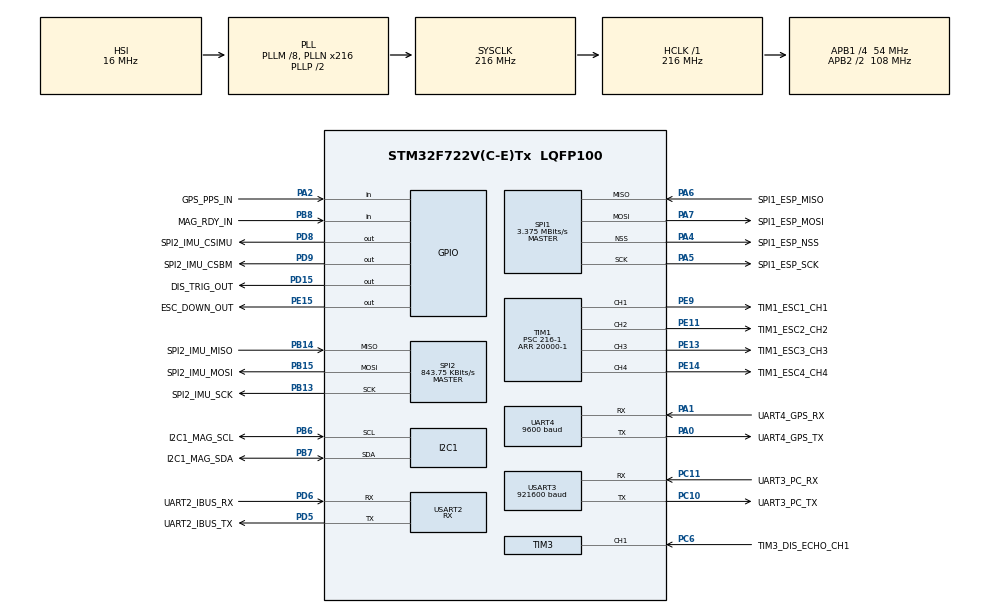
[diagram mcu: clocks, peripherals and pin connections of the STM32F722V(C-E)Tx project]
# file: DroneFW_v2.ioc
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Dma.Request0=USART2_RX
Dma.USART2_RX.0.Direction=DMA_PERIPH_TO_MEMORY
Dma.USART2_RX.0.FIFOMode=DMA_FIFOMODE_DISABLE
Dma.USART2_RX.0.Instance=DMA1_Stream5
Dma.USART2_RX.0.MemDataAlignment=DMA_MDATAALIGN_BYTE
Dma.USART2_RX.0.MemInc=DMA_MINC_ENABLE
Dma.USART2_RX.0.Mode=DMA_NORMAL
Dma.USART2_RX.0.PeriphDataAlignment=DMA_PDATAALIGN_BYTE
Dma.USART2_RX.0.PeriphInc=DMA_PINC_DISABLE
Dma.USART2_RX.0.Priority=DMA_PRIORITY_VERY_HIGH
FREERTOS.BinarySemaphores01=DistSemaphore,Dynamic,NULL;GpsBufferSemaphore,Dynamic,NULL;RemoteBufferFullSemaphore,Dynamic,NULL
FREERTOS.INCLUDE_vTaskDelayUntil=1
FREERTOS.Mutexes01=MagnMutex,Dynamic,NULL;RemoteDataMutex,Dynamic,NULL;ImuMutex,Dynamic,NULL;GpsDataMutex,Dynamic,NULL;DistMutex,Dynamic,NULL;RemoteBufferMutex,Dynamic,NULL;ControllerMutex,Dynamic,NULL
FREERTOS.Tasks01=TaskSensorData,2,512,RunTaskSensorData,Default,NULL,Dynamic,NULL,NULL;TaskController,1,512,RunTaskController,Default,NULL,Dynamic,NULL,NULL;TaskRemote,3,512,RunTaskRemote,Default,NULL,Dynamic,NULL,NULL;TaskMotor,0,256,RunTaskMotor,Default,NULL,Dynamic,NULL,NULL;TaskPower,-1,256,RunTaskPower,Default,NULL,Dynamic,NULL,NULL;TaskDiagnostics,-2,2048,RunTaskDiagnostics,Default,NULL,Dynamic,NULL,NULL;TaskTune,-1,512,RunTaskTune,Default,NULL,Dynamic,NULL,NULL
FREERTOS.configENABLE_FPU=1
FREERTOS.configTOTAL_HEAP_SIZE=32768
FREERTOS.configUSE_NEWLIB_REENTRANT=1
FREERTOS.configUSE_PREEMPTION=1
I2C1.Timing=0xA0404E72
Mcu.Family=STM32F7
Mcu.Name=STM32F722V(C-E)Tx
Mcu.Package=LQFP100
NVIC.DMA1_Stream5_IRQn=true\:8\:0\:true\:false\:true\:true\:false\:true\:true
NVIC.PriorityGroup=NVIC_PRIORITYGROUP_4
NVIC.TIM2_IRQn=true\:15\:0\:false\:false\:true\:false\:false\:true\:true
NVIC.TIM3_IRQn=true\:6\:0\:true\:false\:true\:true\:true\:true\:true
NVIC.TimeBase=TIM2_IRQn
NVIC.TimeBaseIP=TIM2
NVIC.UART4_IRQn=true\:6\:0\:true\:false\:true\:true\:true\:true\:true
NVIC.USART2_IRQn=true\:7\:0\:true\:false\:true\:true\:true\:true\:true
PA0-WKUP.GPIO_Label=UART4_GPS_TX
PA0-WKUP.Mode=Asynchronous
PA0-WKUP.Signal=UART4_TX
PA1.GPIO_Label=UART4_GPS_RX
PA1.Mode=Asynchronous
PA1.Signal=UART4_RX
PA13.GPIO_Label=SWDIO
PA13.Mode=Trace_Asynchronous_SW
PA13.Signal=SYS_JTMS-SWDIO
PA14.GPIO_Label=SWCLK
PA14.Mode=Trace_Asynchronous_SW
PA14.Signal=SYS_JTCK-SWCLK
PA2.GPIO_Label=GPS_PPS_IN
PA2.Signal=GPIO_Input
PA4.GPIO_Label=SPI1_ESP_NSS
PA4.Mode=NSS_Signal_Hard_Output
PA4.Signal=SPI1_NSS
PA5.GPIO_Label=SPI1_ESP_SCK
PA5.Mode=Full_Duplex_Master
PA5.Signal=SPI1_SCK
PA6.GPIO_Label=SPI1_ESP_MISO
PA6.Mode=Full_Duplex_Master
PA6.Signal=SPI1_MISO
PA7.GPIO_Label=SPI1_ESP_MOSI
PA7.Mode=Full_Duplex_Master
PA7.Signal=SPI1_MOSI
PB13.GPIO_Label=SPI2_IMU_SCK
PB13.Mode=Full_Duplex_Master
PB13.Signal=SPI2_SCK
PB14.GPIO_Label=SPI2_IMU_MISO
PB14.Mode=Full_Duplex_Master
PB14.Signal=SPI2_MISO
PB15.GPIO_Label=SPI2_IMU_MOSI
PB15.Mode=Full_Duplex_Master
PB15.Signal=SPI2_MOSI
PB3.Mode=Trace_Asynchronous_SW
PB3.Signal=SYS_JTDO-SWO
PB6.GPIO_Label=I2C1_MAG_SCL
PB6.Mode=I2C
PB6.Signal=I2C1_SCL
PB7.GPIO_Label=I2C1_MAG_SDA
PB7.Mode=I2C
PB7.Signal=I2C1_SDA
PB8.GPIO_Label=MAG_RDY_IN
PB8.Signal=GPIO_Input
PC10.GPIO_Label=UART3_PC_TX
PC10.Mode=Asynchronous
PC10.Signal=USART3_TX
PC11.GPIO_Label=UART3_PC_RX
PC11.Mode=Asynchronous
PC11.Signal=USART3_RX
PC6.GPIO_Label=TIM3_DIS_ECHO_CH1
PC6.Signal=S_TIM3_CH1
PD15.GPIO_Label=DIS_TRIG_OUT
PD15.Signal=GPIO_Output
PD5.GPIO_Label=UART2_IBUS_TX
PD5.Mode=Asynchronous
PD5.Signal=USART2_TX
PD6.GPIO_Label=UART2_IBUS_RX
PD6.Mode=Asynchronous
PD6.Signal=USART2_RX
PD8.GPIO_Label=SPI2_IMU_CSIMU
PD8.Signal=GPIO_Output
PD9.GPIO_Label=SPI2_IMU_CSBM
PD9.Signal=GPIO_Output
PE11.GPIO_Label=TIM1_ESC2_CH2
PE11.Signal=S_TIM1_CH2
PE13.GPIO_Label=TIM1_ESC3_CH3
PE13.Signal=S_TIM1_CH3
PE14.GPIO_Label=TIM1_ESC4_CH4
PE14.Signal=S_TIM1_CH4
PE15.GPIO_Label=ESC_DOWN_OUT
PE15.Signal=GPIO_Output
PE9.GPIO_Label=TIM1_ESC1_CH1
PE9.Signal=S_TIM1_CH1
ProjectManager.HeapSize=0x200
ProjectManager.StackSize=0x400
ProjectManager.TargetToolchain=STM32CubeIDE
RCC.AHBFreq_Value=216000000
RCC.APB1CLKDivider=RCC_HCLK_DIV4
RCC.APB1Freq_Value=54000000
RCC.APB1TimFreq_Value=108000000
RCC.APB2CLKDivider=RCC_HCLK_DIV2
RCC.APB2Freq_Value=108000000
RCC.APB2TimFreq_Value=216000000
RCC.CortexFreq_Value=216000000
RCC.HCLKFreq_Value=216000000
RCC.HSE_VALUE=25000000
RCC.HSI_VALUE=16000000
RCC.I2C1CLockSelection=RCC_I2C1CLKSOURCE_SYSCLK
RCC.LSE_VALUE=32768
RCC.PLLI2SN=216
RCC.PLLM=8
RCC.PLLN=216
RCC.PLLSAIN=216
RCC.SYSCLKFreq_VALUE=216000000
RCC.SYSCLKSource=RCC_SYSCLKSOURCE_PLLCLK
RCC.UART4CLockSelection=RCC_UART4CLKSOURCE_SYSCLK
RCC.USART2CLockSelection=RCC_USART2CLKSOURCE_SYSCLK
RCC.USART3CLockSelection=RCC_USART3CLKSOURCE_SYSCLK
RCC.USBFreq_Value=216000000
RCC.VCOOutputFreq_Value=432000000
SH.S_TIM1_CH1.0=TIM1_CH1,PWM Generation1 CH1
SH.S_TIM1_CH2.0=TIM1_CH2,PWM Generation2 CH2
SH.S_TIM1_CH3.0=TIM1_CH3,PWM Generation3 CH3
SH.S_TIM1_CH4.0=TIM1_CH4,PWM Generation4 CH4
SH.S_TIM3_CH1.0=TIM3_CH1,Input_Capture1_from_TI1
SPI1.BaudRatePrescaler=SPI_BAUDRATEPRESCALER_32
SPI1.CLKPhase=SPI_PHASE_2EDGE
SPI1.CLKPolarity=SPI_POLARITY_HIGH
SPI1.CRCCalculation=SPI_CRCCALCULATION_DISABLE
SPI1.CalculateBaudRate=3.375 MBits/s
SPI1.DataSize=SPI_DATASIZE_8BIT
SPI1.Direction=SPI_DIRECTION_2LINES
SPI1.FirstBit=SPI_FIRSTBIT_MSB
SPI1.Mode=SPI_MODE_MASTER
SPI1.TIMode=SPI_TIMODE_DISABLE
SPI1.VirtualNSS=VM_NSSHARD
SPI1.VirtualType=VM_MASTER
SPI2.BaudRatePrescaler=SPI_BAUDRATEPRESCALER_64
SPI2.CLKPhase=SPI_PHASE_2EDGE
SPI2.CLKPolarity=SPI_POLARITY_HIGH
SPI2.CalculateBaudRate=843.75 KBits/s
SPI2.DataSize=SPI_DATASIZE_8BIT
SPI2.Direction=SPI_DIRECTION_2LINES
SPI2.Mode=SPI_MODE_MASTER
SPI2.VirtualType=VM_MASTER
TIM1.AutoReloadPreload=TIM_AUTORELOAD_PRELOAD_ENABLE
TIM1.Channel-PWM\ Generation1\ CH1=TIM_CHANNEL_1
TIM1.Channel-PWM\ Generation2\ CH2=TIM_CHANNEL_2
TIM1.Channel-PWM\ Generation3\ CH3=TIM_CHANNEL_3
TIM1.Channel-PWM\ Generation4\ CH4=TIM_CHANNEL_4
TIM1.OCFastMode_PWM-PWM\ Generation1\ CH1=TIM_OCFAST_ENABLE
TIM1.OCFastMode_PWM-PWM\ Generation2\ CH2=TIM_OCFAST_ENABLE
TIM1.OCFastMode_PWM-PWM\ Generation3\ CH3=TIM_OCFAST_ENABLE
TIM1.OCFastMode_PWM-PWM\ Generation4\ CH4=TIM_OCFAST_ENABLE
TIM1.Period=20000-1
TIM1.Prescaler=216-1
TIM3.AutoReloadPreload=TIM_AUTORELOAD_PRELOAD_ENABLE
TIM3.Channel-Input_Capture1_from_TI1=TIM_CHANNEL_1
TIM3.Period=65535-1
TIM3.Prescaler=108-1
UART4.BaudRate=9600
USART2.AutoBaudRateEnableParam=UART_ADVFEATURE_AUTOBAUDRATE_DISABLE
USART2.Mode=MODE_RX
USART2.OverSampling=UART_OVERSAMPLING_16
USART2.OverrunDisableParam=ADVFEATURE_OVERRUN_DISABLE
USART2.VirtualMode-Asynchronous=VM_ASYNC
USART3.BaudRate=921600
USART3.Mode=MODE_TX
USART3.VirtualMode-Asynchronous=VM_ASYNC
VP_FREERTOS_VS_CMSIS_V1.Mode=CMSIS_V1
VP_SYS_VS_tim2.Mode=TIM2
VP_TIM1_VS_ClockSourceINT.Mode=Internal
board=custom

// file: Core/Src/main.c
/* USER CODE BEGIN Header */
/**
  ******************************************************************************
  * @file           : main.c
  * @brief          : Main program body
  ******************************************************************************
  * @attention
  *
  * Copyright (c) 2023 STMicroelectronics.
  * All rights reserved.
  *
  * This software is licensed under terms that can be found in the LICENSE file
  * in the root directory of this software component.
  * If no LICENSE file comes with this software, it is provided AS-IS.
  *
  ******************************************************************************
  */
/* USER CODE END Header */
#include "main.h"
#include "cmsis_os.h"

/* USER CODE BEGIN Includes */

#include "stdio.h"
#include "string.h"
#include "stdbool.h"
#include "printf.h"
#include "Globals.h"
#include "Fusion/Fusion.h"

#include "TaskSensorData.h"
#include "TaskController.h"
#include "TaskRemote.h"
#include "TaskMotor.h"
#include "TaskPower.h"
#include "TaskDiagnostics.h"
#include "TaskTune.h"

#include "Debug.h"

/* USER CODE END Includes */

I2C_HandleTypeDef hi2c1;

SPI_HandleTypeDef hspi1;
SPI_HandleTypeDef hspi2;

TIM_HandleTypeDef htim1;
TIM_HandleTypeDef htim3;

UART_HandleTypeDef huart4;
UART_HandleTypeDef huart2;
UART_HandleTypeDef huart3;
DMA_HandleTypeDef hdma_usart2_rx;

osThreadId TaskSensorDataHandle;
osThreadId TaskControllerHandle;
osThreadId TaskRemoteHandle;
osThreadId TaskMotorHandle;
osThreadId TaskPowerHandle;
osThreadId TaskDiagnosticsHandle;
osThreadId TaskTuneHandle;
osMutexId MagnMutexHandle;
osMutexId RemoteDataMutexHandle;
osMutexId ImuMutexHandle;
osMutexId GpsDataMutexHandle;
osMutexId DistMutexHandle;
osMutexId RemoteBufferMutexHandle;
osMutexId ControllerMutexHandle;
osSemaphoreId DistSemaphoreHandle;
osSemaphoreId GpsBufferSemaphoreHandle;
osSemaphoreId RemoteBufferFullSemaphoreHandle;

void SystemClock_Config(void);
static void MX_GPIO_Init(void);
static void MX_DMA_Init(void);
static void MX_SPI1_Init(void);
static void MX_SPI2_Init(void);
static void MX_TIM1_Init(void);
static void MX_TIM3_Init(void);
static void MX_UART4_Init(void);
static void MX_USART2_UART_Init(void);
static void MX_I2C1_Init(void);
static void MX_USART3_UART_Init(void);
void RunTaskSensorData(void const * argument);
void RunTaskController(void const * argument);
void RunTaskRemote(void const * argument);
void RunTaskMotor(void const * argument);
void RunTaskPower(void const * argument);
void RunTaskDiagnostics(void const * argument);
void RunTaskTune(void const * argument);

/* USER CODE BEGIN 0 */
void HAL_UART_RxCpltCallback(UART_HandleTypeDef *huart)
{
	if (huart == &huart2)
	{
		Uart2CallbackCounter++;

		if (osMutexWait(RemoteBufferMutexHandle, 0) == osOK)
		{
			for (int i = 0; i < REM_BUF_SIZE; i++)
				RemoteBuffer[i] = Uart2Buffer[i];

			osMutexRelease(RemoteBufferMutexHandle);

			// Signal to TaskTemote
			osSemaphoreRelease(RemoteBufferFullSemaphoreHandle);
		}

		HAL_UART_Receive_IT(&huart2, &Uart2Buffer, 64);
	}
	else if (huart == &huart4)
	{
		if ((GPSPackageIndex == 0 && Uart4Buffer == '$')
				|| (GPSPackageIndex == 1 && Uart4Buffer == 'G')
				|| (1 < GPSPackageIndex && GPSPackageIndex < GPS_BUFFSIZE))
		{
			GPSPackageBuffer[GPSPackageIndex] = Uart4Buffer;

			if (GPSPackageIndex < GPS_BUFFSIZE-1)
				GPSPackageIndex++;
			else
			{
				GPSPackageIndex = 0;
				ProcessGPSPackageBuffer = true;

				osSemaphoreRelease(GpsBufferSemaphoreHandle);
			}
		}
		else
		{
			GPSPackageIndex = 0;

			// TODO
			//char str[32];
			//sprintf(str, "UART Receive Error: GPS\r\n");
			//HAL_UART_Transmit(&huart3, str, strlen(str), HAL_MAX_DELAY);
		}

		HAL_UART_Receive_DMA(&huart4, &Uart4Buffer, 1);
	}
}

void HAL_UART_ErrorCallback(UART_HandleTypeDef *huart)
{
	if (huart == &huart2)
	{
		if (huart->ErrorCode != 0)
		{
			//Diag = false;

			char str[32];
			sprintf(str, "UART2 Error Callback: %d\r\n", huart->ErrorCode);
			HAL_UART_Transmit(&huart3, str, strlen(str), HAL_MAX_DELAY);
		}
	}
	else if (huart == &huart4)
	{
		if (huart->ErrorCode != 0)
		{
			Diag = false;

			char str[32];
			sprintf(str, "UART4 Error Callback: %lu\r\n", huart->ErrorCode);
			HAL_UART_Transmit(&huart3, str, strlen(str), HAL_MAX_DELAY);
		}
	}
}

void HAL_SPI_RxCpltCallback(SPI_HandleTypeDef *hspi)
{
	if (hspi == &hspi1)
	{
		//for (int i = 0; i < 64; i++)
		//	Spi1ReceivedData[i] = Spi1Buffer[i];
		//HAL_UART_Transmit(&huart3, Spi1ReceivedData, strlen(Spi1ReceivedData), HAL_MAX_DELAY);

		//HAL_SPI_Receive_IT(&hspi1, Spi1Buffer, 64);
	}
}

void HAL_SPI_ErrorCallback(SPI_HandleTypeDef *hspi)
{
	if (hspi == &hspi1)
		{
			if (hspi->ErrorCode != 0)
			{
				//Diag = false;

				char str[32];
				sprintf(str, "SPI1 Error Callback: %d\r\n", hspi->ErrorCode);
				HAL_UART_Transmit(&huart3, str, strlen(str), HAL_MAX_DELAY);
			}
		}
}

void HAL_TIM_IC_CaptureCallback(TIM_HandleTypeDef *htim)
{
	if (htim == &htim3)
	{
		HCSR04_TMR_IC_ISR(&HCSR04, htim);
	}
}
/* USER CODE END 0 */

int main(void)
{

  /* MCU Configuration--------------------------------------------------------*/

  /* Reset of all peripherals, Initializes the Flash interface and the Systick. */
  HAL_Init();

  /* Configure the system clock */
  SystemClock_Config();

  /* Initialize all configured peripherals */
  MX_GPIO_Init();
  MX_DMA_Init();
  MX_SPI1_Init();
  MX_SPI2_Init();
  MX_TIM1_Init();
  MX_TIM3_Init();
  MX_UART4_Init();
  MX_USART2_UART_Init();
  MX_I2C1_Init();
  MX_USART3_UART_Init();
  /* USER CODE BEGIN 2 */

  // Init IMU
  	if(MPU_Init(&hspi2, &MPU9250) == 0 && BMP280_initialize(&hspi2, &BMP280) == 0)
  		IsImuAvailable = true;
  	else
  		IsImuAvailable = false;

  	// Init Magnetometer
  	if (HMC5883L_Init() == 0)
  		IsMagnAvailable = true;
  	else
  		IsMagnAvailable = false;

  	// Init Distance sensor
  	if (HCSR04_Init(&HCSR04, &htim3) == 0)
  		IsDistAvailable = false;
  	else
  		IsDistAvailable = false;

  	// Init GPS
  //	if (GPS_Init() == 0)
  //		IsGpsAvailable = true;
  //	else
  //		IsGpsAvailable = false;

  /* USER CODE END 2 */

  /* Create the mutex(es) */
  /* definition and creation of MagnMutex */
  osMutexDef(MagnMutex);
  MagnMutexHandle = osMutexCreate(osMutex(MagnMutex));

  /* definition and creation of RemoteDataMutex */
  osMutexDef(RemoteDataMutex);
  RemoteDataMutexHandle = osMutexCreate(osMutex(RemoteDataMutex));

  /* definition and creation of ImuMutex */
  osMutexDef(ImuMutex);
  ImuMutexHandle = osMutexCreate(osMutex(ImuMutex));

  /* definition and creation of GpsDataMutex */
  osMutexDef(GpsDataMutex);
  GpsDataMutexHandle = osMutexCreate(osMutex(GpsDataMutex));

  /* definition and creation of DistMutex */
  osMutexDef(DistMutex);
  DistMutexHandle = osMutexCreate(osMutex(DistMutex));

  /* definition and creation of RemoteBufferMutex */
  osMutexDef(RemoteBufferMutex);
  RemoteBufferMutexHandle = osMutexCreate(osMutex(RemoteBufferMutex));

  /* definition and creation of ControllerMutex */
  osMutexDef(ControllerMutex);
  ControllerMutexHandle = osMutexCreate(osMutex(ControllerMutex));

  /* USER CODE BEGIN RTOS_MUTEX */

	osMutexRelease(MagnMutexHandle);
	osMutexRelease(RemoteDataMutexHandle);
	osMutexRelease(ImuMutexHandle);
	osMutexRelease(GpsDataMutexHandle);
	osMutexRelease(RemoteBufferMutexHandle);
	osMutexRelease(ControllerMutexHandle);

  /* USER CODE END RTOS_MUTEX */

  /* Create the semaphores(s) */
  /* definition and creation of DistSemaphore */
  osSemaphoreDef(DistSemaphore);
  DistSemaphoreHandle = osSemaphoreCreate(osSemaphore(DistSemaphore), 1);

  /* definition and creation of GpsBufferSemaphore */
  osSemaphoreDef(GpsBufferSemaphore);
  GpsBufferSemaphoreHandle = osSemaphoreCreate(osSemaphore(GpsBufferSemaphore), 1);

  /* definition and creation of RemoteBufferFullSemaphore */
  osSemaphoreDef(RemoteBufferFullSemaphore);
  RemoteBufferFullSemaphoreHandle = osSemaphoreCreate(osSemaphore(RemoteBufferFullSemaphore), 1);

  /* USER CODE BEGIN RTOS_SEMAPHORES */

  if (osSemaphoreGetCount(DistSemaphoreHandle) == 1)
  	  osSemaphoreWait(DistSemaphoreHandle, osWaitForever);
  if (osSemaphoreGetCount(GpsBufferSemaphoreHandle) == 1)
  	  osSemaphoreWait(GpsBufferSemaphoreHandle, osWaitForever);

  if (osSemaphoreGetCount(RemoteBufferFullSemaphoreHandle) == 1)
  	  osSemaphoreWait(RemoteBufferFullSemaphoreHandle, osWaitForever);

  /* USER CODE END RTOS_SEMAPHORES */

  /* Create the thread(s) */
  /* definition and creation of TaskSensorData */
  osThreadDef(TaskSensorData, RunTaskSensorData, osPriorityHigh, 0, 512);
  TaskSensorDataHandle = osThreadCreate(osThread(TaskSensorData), NULL);

  /* definition and creation of TaskController */
  osThreadDef(TaskController, RunTaskController, osPriorityAboveNormal, 0, 512);
  TaskControllerHandle = osThreadCreate(osThread(TaskController), NULL);

  /* definition and creation of TaskRemote */
  osThreadDef(TaskRemote, RunTaskRemote, osPriorityRealtime, 0, 512);
  TaskRemoteHandle = osThreadCreate(osThread(TaskRemote), NULL);

  /* definition and creation of TaskMotor */
  osThreadDef(TaskMotor, RunTaskMotor, osPriorityNormal, 0, 256);
  TaskMotorHandle = osThreadCreate(osThread(TaskMotor), NULL);

  /* definition and creation of TaskPower */
  osThreadDef(TaskPower, RunTaskPower, osPriorityBelowNormal, 0, 256);
  TaskPowerHandle = osThreadCreate(osThread(TaskPower), NULL);

  /* definition and creation of TaskDiagnostics */
  osThreadDef(TaskDiagnostics, RunTaskDiagnostics, osPriorityLow, 0, 2048);
  TaskDiagnosticsHandle = osThreadCreate(osThread(TaskDiagnostics), NULL);

  /* definition and creation of TaskTune */
  osThreadDef(TaskTune, RunTaskTune, osPriorityBelowNormal, 0, 512);
  TaskTuneHandle = osThreadCreate(osThread(TaskTune), NULL);

  /* Start scheduler */
  osKernelStart();

  /* We should never get here as control is now taken by the scheduler */
  /* Infinite loop */
  while (1)
  {

  }
}

void SystemClock_Config(void)
{
  RCC_OscInitTypeDef RCC_OscInitStruct = {0};
  RCC_ClkInitTypeDef RCC_ClkInitStruct = {0};

  /** Configure the main internal regulator output voltage
  */
  __HAL_RCC_PWR_CLK_ENABLE();
  __HAL_PWR_VOLTAGESCALING_CONFIG(PWR_REGULATOR_VOLTAGE_SCALE1);

  /** Initializes the RCC Oscillators according to the specified parameters
  * in the RCC_OscInitTypeDef structure.
  */
  RCC_OscInitStruct.OscillatorType = RCC_OSCILLATORTYPE_HSI;
  RCC_OscInitStruct.HSIState = RCC_HSI_ON;
  RCC_OscInitStruct.HSICalibrationValue = RCC_HSICALIBRATION_DEFAULT;
  RCC_OscInitStruct.PLL.PLLState = RCC_PLL_ON;
  RCC_OscInitStruct.PLL.PLLSource = RCC_PLLSOURCE_HSI;
  RCC_OscInitStruct.PLL.PLLM = 8;
  RCC_OscInitStruct.PLL.PLLN = 216;
  RCC_OscInitStruct.PLL.PLLP = RCC_PLLP_DIV2;
  RCC_OscInitStruct.PLL.PLLQ = 2;
  if (HAL_RCC_OscConfig(&RCC_OscInitStruct) != HAL_OK)
  {
    Error_Handler();
  }

  /** Activate the Over-Drive mode
  */
  if (HAL_PWREx_EnableOverDrive() != HAL_OK)
  {
    Error_Handler();
  }

  /** Initializes the CPU, AHB and APB buses clocks
  */
  RCC_ClkInitStruct.ClockType = RCC_CLOCKTYPE_HCLK|RCC_CLOCKTYPE_SYSCLK
                              |RCC_CLOCKTYPE_PCLK1|RCC_CLOCKTYPE_PCLK2;
  RCC_ClkInitStruct.SYSCLKSource = RCC_SYSCLKSOURCE_PLLCLK;
  RCC_ClkInitStruct.AHBCLKDivider = RCC_SYSCLK_DIV1;
  RCC_ClkInitStruct.APB1CLKDivider = RCC_HCLK_DIV4;
  RCC_ClkInitStruct.APB2CLKDivider = RCC_HCLK_DIV2;

  if (HAL_RCC_ClockConfig(&RCC_ClkInitStruct, FLASH_LATENCY_7) != HAL_OK)
  {
    Error_Handler();
  }
}

static void MX_I2C1_Init(void)
{

  hi2c1.Instance = I2C1;
  hi2c1.Init.Timing = 0xA0404E72;
  hi2c1.Init.OwnAddress1 = 0;
  hi2c1.Init.AddressingMode = I2C_ADDRESSINGMODE_7BIT;
  hi2c1.Init.DualAddressMode = I2C_DUALADDRESS_DISABLE;
  hi2c1.Init.OwnAddress2 = 0;
  hi2c1.Init.OwnAddress2Masks = I2C_OA2_NOMASK;
  hi2c1.Init.GeneralCallMode = I2C_GENERALCALL_DISABLE;
  hi2c1.Init.NoStretchMode = I2C_NOSTRETCH_DISABLE;
  if (HAL_I2C_Init(&hi2c1) != HAL_OK)
  {
    Error_Handler();
  }

  /** Configure Analogue filter
  */
  if (HAL_I2CEx_ConfigAnalogFilter(&hi2c1, I2C_ANALOGFILTER_ENABLE) != HAL_OK)
  {
    Error_Handler();
  }

  /** Configure Digital filter
  */
  if (HAL_I2CEx_ConfigDigitalFilter(&hi2c1, 0) != HAL_OK)
  {
    Error_Handler();
  }

}

static void MX_SPI1_Init(void)
{

  /* SPI1 parameter configuration*/
  hspi1.Instance = SPI1;
  hspi1.Init.Mode = SPI_MODE_MASTER;
  hspi1.Init.Direction = SPI_DIRECTION_2LINES;
  hspi1.Init.DataSize = SPI_DATASIZE_8BIT;
  hspi1.Init.CLKPolarity = SPI_POLARITY_HIGH;
  hspi1.Init.CLKPhase = SPI_PHASE_2EDGE;
  hspi1.Init.NSS = SPI_NSS_HARD_OUTPUT;
  hspi1.Init.BaudRatePrescaler = SPI_BAUDRATEPRESCALER_32;
  hspi1.Init.FirstBit = SPI_FIRSTBIT_MSB;
  hspi1.Init.TIMode = SPI_TIMODE_DISABLE;
  hspi1.Init.CRCCalculation = SPI_CRCCALCULATION_DISABLE;
  hspi1.Init.CRCPolynomial = 7;
  hspi1.Init.CRCLength = SPI_CRC_LENGTH_DATASIZE;
  hspi1.Init.NSSPMode = SPI_NSS_PULSE_DISABLE;
  if (HAL_SPI_Init(&hspi1) != HAL_OK)
  {
    Error_Handler();
  }

}

static void MX_SPI2_Init(void)
{

  /* SPI2 parameter configuration*/
  hspi2.Instance = SPI2;
  hspi2.Init.Mode = SPI_MODE_MASTER;
  hspi2.Init.Direction = SPI_DIRECTION_2LINES;
  hspi2.Init.DataSize = SPI_DATASIZE_8BIT;
  hspi2.Init.CLKPolarity = SPI_POLARITY_HIGH;
  hspi2.Init.CLKPhase = SPI_PHASE_2EDGE;
  hspi2.Init.NSS = SPI_NSS_SOFT;
  hspi2.Init.BaudRatePrescaler = SPI_BAUDRATEPRESCALER_64;
  hspi2.Init.FirstBit = SPI_FIRSTBIT_MSB;
  hspi2.Init.TIMode = SPI_TIMODE_DISABLE;
  hspi2.Init.CRCCalculation = SPI_CRCCALCULATION_DISABLE;
  hspi2.Init.CRCPolynomial = 7;
  hspi2.Init.CRCLength = SPI_CRC_LENGTH_DATASIZE;
  hspi2.Init.NSSPMode = SPI_NSS_PULSE_DISABLE;
  if (HAL_SPI_Init(&hspi2) != HAL_OK)
  {
    Error_Handler();
  }

}

static void MX_TIM1_Init(void)
{

  TIM_ClockConfigTypeDef sClockSourceConfig = {0};
  TIM_MasterConfigTypeDef sMasterConfig = {0};
  TIM_OC_InitTypeDef sConfigOC = {0};
  TIM_BreakDeadTimeConfigTypeDef sBreakDeadTimeConfig = {0};

  htim1.Instance = TIM1;
  htim1.Init.Prescaler = 216-1;
  htim1.Init.CounterMode = TIM_COUNTERMODE_UP;
  htim1.Init.Period = 20000-1;
  htim1.Init.ClockDivision = TIM_CLOCKDIVISION_DIV1;
  htim1.Init.RepetitionCounter = 0;
  htim1.Init.AutoReloadPreload = TIM_AUTORELOAD_PRELOAD_ENABLE;
  if (HAL_TIM_Base_Init(&htim1) != HAL_OK)
  {
    Error_Handler();
  }
  sClockSourceConfig.ClockSource = TIM_CLOCKSOURCE_INTERNAL;
  if (HAL_TIM_ConfigClockSource(&htim1, &sClockSourceConfig) != HAL_OK)
  {
    Error_Handler();
  }
  if (HAL_TIM_PWM_Init(&htim1) != HAL_OK)
  {
    Error_Handler();
  }
  sMasterConfig.MasterOutputTrigger = TIM_TRGO_RESET;
  sMasterConfig.MasterOutputTrigger2 = TIM_TRGO2_RESET;
  sMasterConfig.MasterSlaveMode = TIM_MASTERSLAVEMODE_DISABLE;
  if (HAL_TIMEx_MasterConfigSynchronization(&htim1, &sMasterConfig) != HAL_OK)
  {
    Error_Handler();
  }
  sConfigOC.OCMode = TIM_OCMODE_PWM1;
  sConfigOC.Pulse = 0;
  sConfigOC.OCPolarity = TIM_OCPOLARITY_HIGH;
  sConfigOC.OCNPolarity = TIM_OCNPOLARITY_HIGH;
  sConfigOC.OCFastMode = TIM_OCFAST_ENABLE;
  sConfigOC.OCIdleState = TIM_OCIDLESTATE_RESET;
  sConfigOC.OCNIdleState = TIM_OCNIDLESTATE_RESET;
  if (HAL_TIM_PWM_ConfigChannel(&htim1, &sConfigOC, TIM_CHANNEL_1) != HAL_OK)
  {
    Error_Handler();
  }
  if (HAL_TIM_PWM_ConfigChannel(&htim1, &sConfigOC, TIM_CHANNEL_2) != HAL_OK)
  {
    Error_Handler();
  }
  if (HAL_TIM_PWM_ConfigChannel(&htim1, &sConfigOC, TIM_CHANNEL_3) != HAL_OK)
  {
    Error_Handler();
  }
  if (HAL_TIM_PWM_ConfigChannel(&htim1, &sConfigOC, TIM_CHANNEL_4) != HAL_OK)
  {
    Error_Handler();
  }
  sBreakDeadTimeConfig.OffStateRunMode = TIM_OSSR_DISABLE;
  sBreakDeadTimeConfig.OffStateIDLEMode = TIM_OSSI_DISABLE;
  sBreakDeadTimeConfig.LockLevel = TIM_LOCKLEVEL_OFF;
  sBreakDeadTimeConfig.DeadTime = 0;
  sBreakDeadTimeConfig.BreakState = TIM_BREAK_DISABLE;
  sBreakDeadTimeConfig.BreakPolarity = TIM_BREAKPOLARITY_HIGH;
  sBreakDeadTimeConfig.BreakFilter = 0;
  sBreakDeadTimeConfig.Break2State = TIM_BREAK2_DISABLE;
  sBreakDeadTimeConfig.Break2Polarity = TIM_BREAK2POLARITY_HIGH;
  sBreakDeadTimeConfig.Break2Filter = 0;
  sBreakDeadTimeConfig.AutomaticOutput = TIM_AUTOMATICOUTPUT_DISABLE;
  if (HAL_TIMEx_ConfigBreakDeadTime(&htim1, &sBreakDeadTimeConfig) != HAL_OK)
  {
    Error_Handler();
  }
  HAL_TIM_MspPostInit(&htim1);

}

static void MX_TIM3_Init(void)
{

  TIM_MasterConfigTypeDef sMasterConfig = {0};
  TIM_IC_InitTypeDef sConfigIC = {0};

  htim3.Instance = TIM3;
  htim3.Init.Prescaler = 108-1;
  htim3.Init.CounterMode = TIM_COUNTERMODE_UP;
  htim3.Init.Period = 65535-1;
  htim3.Init.ClockDivision = TIM_CLOCKDIVISION_DIV1;
  htim3.Init.AutoReloadPreload = TIM_AUTORELOAD_PRELOAD_ENABLE;
  if (HAL_TIM_IC_Init(&htim3) != HAL_OK)
  {
    Error_Handler();
  }
  sMasterConfig.MasterOutputTrigger = TIM_TRGO_RESET;
  sMasterConfig.MasterSlaveMode = TIM_MASTERSLAVEMODE_DISABLE;
  if (HAL_TIMEx_MasterConfigSynchronization(&htim3, &sMasterConfig) != HAL_OK)
  {
    Error_Handler();
  }
  sConfigIC.ICPolarity = TIM_INPUTCHANNELPOLARITY_RISING;
  sConfigIC.ICSelection = TIM_ICSELECTION_DIRECTTI;
  sConfigIC.ICPrescaler = TIM_ICPSC_DIV1;
  sConfigIC.ICFilter = 0;
  if (HAL_TIM_IC_ConfigChannel(&htim3, &sConfigIC, TIM_CHANNEL_1) != HAL_OK)
  {
    Error_Handler();
  }

}

static void MX_UART4_Init(void)
{

  huart4.Instance = UART4;
  huart4.Init.BaudRate = 9600;
  huart4.Init.WordLength = UART_WORDLENGTH_8B;
  huart4.Init.StopBits = UART_STOPBITS_1;
  huart4.Init.Parity = UART_PARITY_NONE;
  huart4.Init.Mode = UART_MODE_TX_RX;
  huart4.Init.HwFlowCtl = UART_HWCONTROL_NONE;
  huart4.Init.OverSampling = UART_OVERSAMPLING_16;
  huart4.Init.OneBitSampling = UART_ONE_BIT_SAMPLE_DISABLE;
  huart4.AdvancedInit.AdvFeatureInit = UART_ADVFEATURE_NO_INIT;
  if (HAL_UART_Init(&huart4) != HAL_OK)
  {
    Error_Handler();
  }

}

static void MX_USART2_UART_Init(void)
{

  huart2.Instance = USART2;
  huart2.Init.BaudRate = 115200;
  huart2.Init.WordLength = UART_WORDLENGTH_8B;
  huart2.Init.StopBits = UART_STOPBITS_1;
  huart2.Init.Parity = UART_PARITY_NONE;
  huart2.Init.Mode = UART_MODE_RX;
  huart2.Init.HwFlowCtl = UART_HWCONTROL_NONE;
  huart2.Init.OverSampling = UART_OVERSAMPLING_16;
  huart2.Init.OneBitSampling = UART_ONE_BIT_SAMPLE_DISABLE;
  huart2.AdvancedInit.AdvFeatureInit = UART_ADVFEATURE_RXOVERRUNDISABLE_INIT;
  huart2.AdvancedInit.OverrunDisable = UART_ADVFEATURE_OVERRUN_DISABLE;
  if (HAL_UART_Init(&huart2) != HAL_OK)
  {
    Error_Handler();
  }

}

static void MX_USART3_UART_Init(void)
{

  huart3.Instance = USART3;
  huart3.Init.BaudRate = 921600;
  huart3.Init.WordLength = UART_WORDLENGTH_8B;
  huart3.Init.StopBits = UART_STOPBITS_1;
  huart3.Init.Parity = UART_PARITY_NONE;
  huart3.Init.Mode = UART_MODE_TX;
  huart3.Init.HwFlowCtl = UART_HWCONTROL_NONE;
  huart3.Init.OverSampling = UART_OVERSAMPLING_16;
  huart3.Init.OneBitSampling = UART_ONE_BIT_SAMPLE_DISABLE;
  huart3.AdvancedInit.AdvFeatureInit = UART_ADVFEATURE_NO_INIT;
  if (HAL_UART_Init(&huart3) != HAL_OK)
  {
    Error_Handler();
  }

}

static void MX_DMA_Init(void)
{

  /* DMA controller clock enable */
  __HAL_RCC_DMA1_CLK_ENABLE();

  /* DMA interrupt init */
  /* DMA1_Stream5_IRQn interrupt configuration */
  HAL_NVIC_SetPriority(DMA1_Stream5_IRQn, 8, 0);
  HAL_NVIC_EnableIRQ(DMA1_Stream5_IRQn);

}

static void MX_GPIO_Init(void)
{
  GPIO_InitTypeDef GPIO_InitStruct = {0};

  /* GPIO Ports Clock Enable */
  __HAL_RCC_GPIOA_CLK_ENABLE();
  __HAL_RCC_GPIOE_CLK_ENABLE();
  __HAL_RCC_GPIOB_CLK_ENABLE();
  __HAL_RCC_GPIOD_CLK_ENABLE();
  __HAL_RCC_GPIOC_CLK_ENABLE();

  /*Configure GPIO pin Output Level */
  HAL_GPIO_WritePin(ESC_DOWN_OUT_GPIO_Port, ESC_DOWN_OUT_Pin, GPIO_PIN_RESET);

  /*Configure GPIO pin Output Level */
  HAL_GPIO_WritePin(GPIOD, SPI2_IMU_CSIMU_Pin|SPI2_IMU_CSBM_Pin|DIS_TRIG_OUT_Pin, GPIO_PIN_RESET);

  /*Configure GPIO pin : GPS_PPS_IN_Pin */
  GPIO_InitStruct.Pin = GPS_PPS_IN_Pin;
  GPIO_InitStruct.Mode = GPIO_MODE_INPUT;
  GPIO_InitStruct.Pull = GPIO_NOPULL;
  HAL_GPIO_Init(GPS_PPS_IN_GPIO_Port, &GPIO_InitStruct);

  /*Configure GPIO pin : ESC_DOWN_OUT_Pin */
  GPIO_InitStruct.Pin = ESC_DOWN_OUT_Pin;
  GPIO_InitStruct.Mode = GPIO_MODE_OUTPUT_PP;
  GPIO_InitStruct.Pull = GPIO_NOPULL;
  GPIO_InitStruct.Speed = GPIO_SPEED_FREQ_LOW;
  HAL_GPIO_Init(ESC_DOWN_OUT_GPIO_Port, &GPIO_InitStruct);

  /*Configure GPIO pins : SPI2_IMU_CSIMU_Pin SPI2_IMU_CSBM_Pin DIS_TRIG_OUT_Pin */
  GPIO_InitStruct.Pin = SPI2_IMU_CSIMU_Pin|SPI2_IMU_CSBM_Pin|DIS_TRIG_OUT_Pin;
  GPIO_InitStruct.Mode = GPIO_MODE_OUTPUT_PP;
  GPIO_InitStruct.Pull = GPIO_NOPULL;
  GPIO_InitStruct.Speed = GPIO_SPEED_FREQ_LOW;
  HAL_GPIO_Init(GPIOD, &GPIO_InitStruct);

  /*Configure GPIO pin : MAG_RDY_IN_Pin */
  GPIO_InitStruct.Pin = MAG_RDY_IN_Pin;
  GPIO_InitStruct.Mode = GPIO_MODE_INPUT;
  GPIO_InitStruct.Pull = GPIO_NOPULL;
  HAL_GPIO_Init(MAG_RDY_IN_GPIO_Port, &GPIO_InitStruct);

}

void RunTaskSensorData(void const * argument)
{
  /* USER CODE BEGIN 5 */
	TaskSensorData(argument);
  /* USER CODE END 5 */
}

void RunTaskController(void const * argument)
{
  /* USER CODE BEGIN RunTaskController */
	TaskController(argument);
  /* USER CODE END RunTaskController */
}

void RunTaskRemote(void const * argument)
{
  /* USER CODE BEGIN RunTaskRemote */
	TaskRemote(argument);
  /* USER CODE END RunTaskRemote */
}

void RunTaskMotor(void const * argument)
{
  /* USER CODE BEGIN RunTaskMotor */
	TaskMotor(argument);
  /* USER CODE END RunTaskMotor */
}

void RunTaskPower(void const * argument)
{
  /* USER CODE BEGIN RunTaskPower */
	TaskPower(argument);
  /* USER CODE END RunTaskPower */
}

void RunTaskDiagnostics(void const * argument)
{
  /* USER CODE BEGIN RunTaskDiagnostics */
	TaskDiagnostics(argument);
  /* USER CODE END RunTaskDiagnostics */
}

void RunTaskTune(void const * argument)
{
  /* USER CODE BEGIN RunTaskTune */
	TaskTune(argument);
  /* USER CODE END RunTaskTune */
}

void HAL_TIM_PeriodElapsedCallback(TIM_HandleTypeDef *htim)
{
  if (htim->Instance == TIM2) {
    HAL_IncTick();
  }
}

void Error_Handler(void)
{
  __disable_irq();
  while (1)
  {
  }
}

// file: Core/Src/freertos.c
/* USER CODE BEGIN Header */
/**
 ******************************************************************************
 * File Name          : freertos.c
 * Description        : Code for freertos applications
 ******************************************************************************
 * @attention
 *
 * Copyright (c) 2023 STMicroelectronics.
 * All rights reserved.
 *
 * This software is licensed under terms that can be found in the LICENSE file
 * in the root directory of this software component.
 * If no LICENSE file comes with this software, it is provided AS-IS.
 *
 ******************************************************************************
 */
/* USER CODE END Header */

#include "FreeRTOS.h"
#include "task.h"
#include "main.h"

/* GetIdleTaskMemory prototype (linked to static allocation support) */
void vApplicationGetIdleTaskMemory( StaticTask_t **ppxIdleTaskTCBBuffer, StackType_t **ppxIdleTaskStackBuffer, uint32_t *pulIdleTaskStackSize );

/* USER CODE BEGIN GET_IDLE_TASK_MEMORY */
static StaticTask_t xIdleTaskTCBBuffer;
static StackType_t xIdleStack[configMINIMAL_STACK_SIZE];

void vApplicationGetIdleTaskMemory(StaticTask_t **ppxIdleTaskTCBBuffer,
		StackType_t **ppxIdleTaskStackBuffer, uint32_t *pulIdleTaskStackSize)
{
	*ppxIdleTaskTCBBuffer = &xIdleTaskTCBBuffer;
	*ppxIdleTaskStackBuffer = &xIdleStack[0];
	*pulIdleTaskStackSize = configMINIMAL_STACK_SIZE;
	/* place for user code */
}
/* USER CODE END GET_IDLE_TASK_MEMORY */
